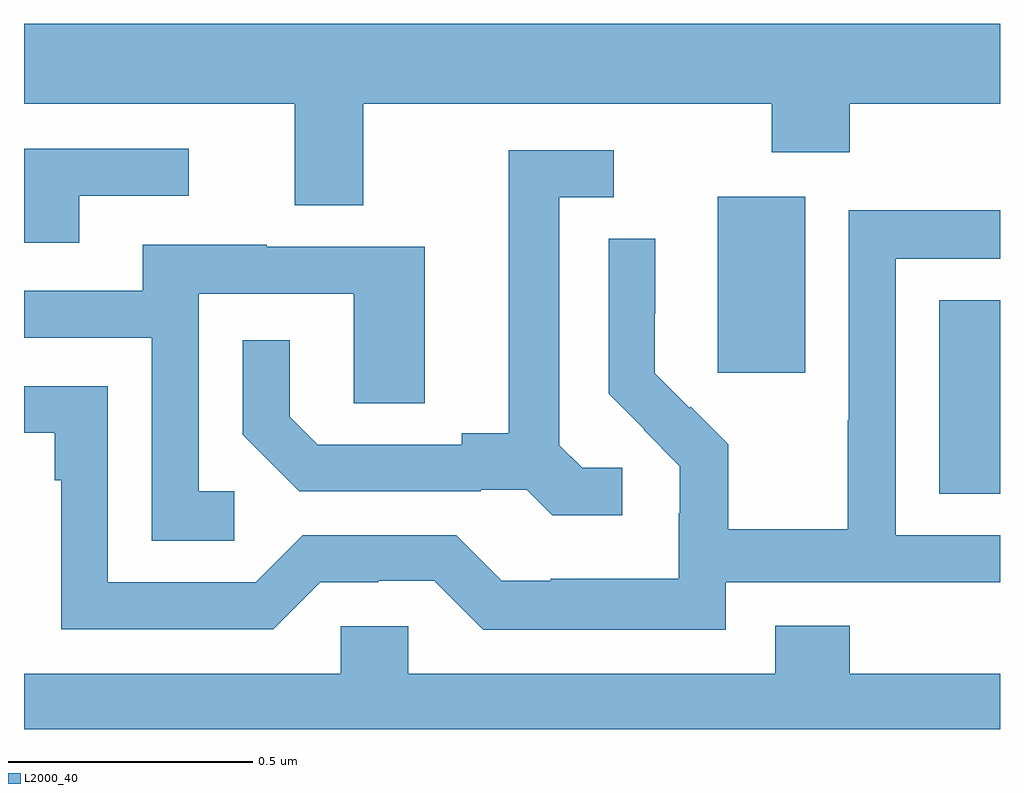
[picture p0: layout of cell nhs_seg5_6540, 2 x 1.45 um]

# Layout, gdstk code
import gdstk
lib = gdstk.Library(unit=1e-6, precision=1e-09)
def R(c, l, rs):  # rectangles x0, y0, x1, y1
    for r in rs: c.add(gdstk.rectangle(r[:2], r[2:], *l))
def P(c, l, *ps):  # polygons
    for p in ps: c.add(gdstk.Polygon(p, *l))
L2000_40 = (2000, 40)

nhs_seg5_6540 = lib.new_cell('nhs_seg5_6540')
R(nhs_seg5_6540, L2000_40, [(198.875,869.281,199,869.678), (198.422,869.529,198.601,869.89)])
P(nhs_seg5_6540, L2000_40, [(197.695,870.08),(198.532,870.08),(198.532,869.981),(198.692,869.981),(198.692,870.08),(199,870.08),(199,870.244),(197,870.244),(197,870.08),(197.555,870.08),(197.555,869.872),(197.695,869.872)],
  [(197.113,869.892),(197.338,869.892),(197.338,869.988),(197,869.988),(197,869.796),(197.113,869.796)],
  [(198.226,869.334),(198.144,869.334),(198.097,869.381),(198.097,869.889),(198.208,869.889),(198.208,869.985),(197.993,869.985),(197.993,869.405),(197.897,869.405),(197.897,869.382),(197.602,869.382),(197.545,869.439),(197.545,869.596),(197.448,869.596),(197.448,869.402),(197.564,869.286),(197.936,869.286),(197.936,869.289),(198.03,869.289),(198.082,869.237),(198.226,869.237)],
  [(198.438,869.1),(199,869.1),(199,869.196),(198.786,869.196),(198.786,869.763),(199,869.763),(199,869.862),(198.69,869.862),(198.69,869.432),(198.688,869.432),(198.688,869.209),(198.443,869.209),(198.443,869.383),(198.366,869.46),(198.363,869.457),(198.293,869.528),(198.293,869.65),(198.294,869.65),(198.294,869.804),(198.198,869.804),(198.198,869.486),(198.271,869.413),(198.27,869.412),(198.344,869.338),(198.344,869.241),(198.342,869.241),(198.342,869.107),(198.079,869.107),(198.079,869.103),(197.979,869.103),(197.886,869.196),(197.571,869.196),(197.475,869.1),(197.172,869.1),(197.172,869.502),(197,869.502),(197,869.406),(197.063,869.406),(197.063,869.309),(197.076,869.309),(197.076,869.004),(197.511,869.004),(197.607,869.1),(197.726,869.1),(197.726,869.103),(197.841,869.103),(197.941,869.003),(198.438,869.003)],
  [(197.431,869.286),(197.358,869.286),(197.358,869.691),(197.676,869.691),(197.676,869.467),(197.821,869.467),(197.821,869.787),(197.497,869.787),(197.497,869.791),(197.243,869.791),(197.243,869.697),(197,869.697),(197,869.601),(197.262,869.601),(197.262,869.185),(197.431,869.185)],
  [(199,868.912),(198.692,868.912),(198.692,869.011),(198.539,869.011),(198.539,868.912),(197.787,868.912),(197.787,869.01),(197.649,869.01),(197.649,868.912),(197,868.912),(197,868.799),(199,868.799)])

lib.write_gds('nhs_seg5_6540.gds')
